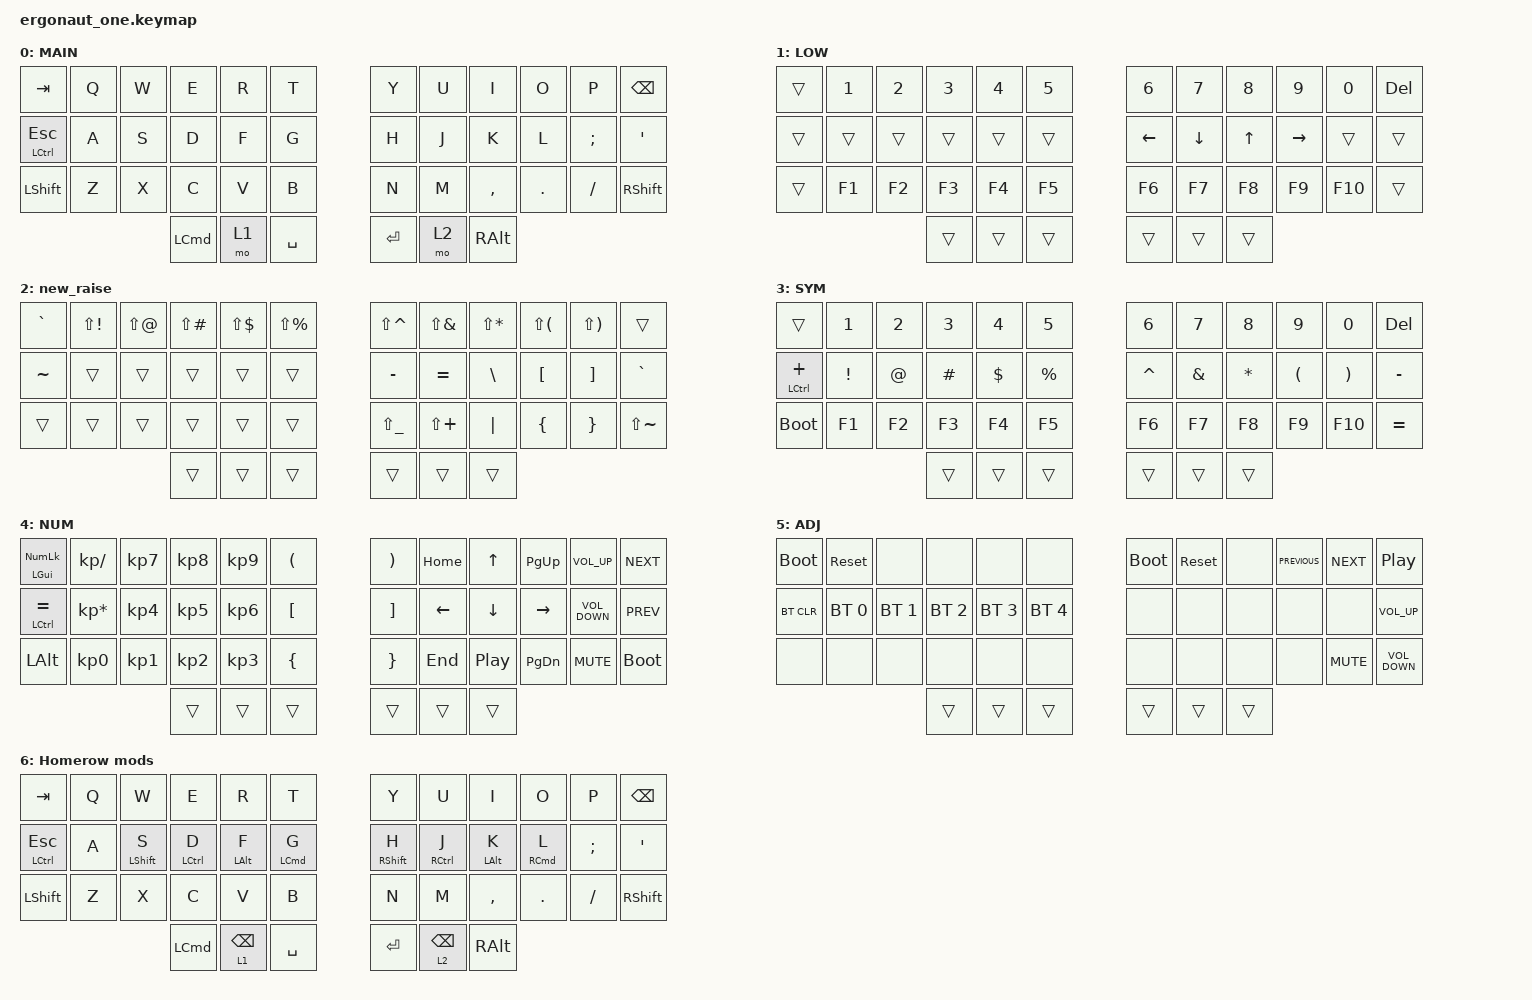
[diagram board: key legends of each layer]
#include <behaviors.dtsi>
#include <dt-bindings/zmk/bt.h>
#include <dt-bindings/zmk/keys.h>

#define DEF 0
#define LWR 1
#define RSE 2
#define ADJ 3

&lt {
    quick-tap-ms = <200>;
    tapping-term-ms = <300>;
};

&mt {
    quick-tap-ms = <200>;
    tapping-term-ms = <300>;
};

/ {
    conditional_layers {
        compatible = "zmk,conditional-layers";

        config {
            if-layers = <1 2>;
            then-layer = <5>;
        };
    };

    combos {
        compatible = "zmk,combos";

        configl {
            bindings = <&to 5>;
            key-positions = <3 38 24>;
        };

        configr {
            bindings = <&to 5>;
            key-positions = <8 35 39>;
        };

        esc {
            bindings = <&kp ESCAPE>;
            key-positions = <0 1>;
        };
    };

    keymap {
        compatible = "zmk,keymap";

        default_layer {
            display-name = "MAIN";
            bindings = <
&kp TAB           &kp Q  &kp W  &kp E             &kp R  &kp T      &kp Y      &kp U  &kp I          &kp O    &kp P     &kp BACKSPACE
&mt LCTRL ESCAPE  &kp A  &kp S  &kp D             &kp F  &kp G      &kp H      &kp J  &kp K          &kp L    &kp SEMI  &kp SQT
&kp LEFT_SHIFT    &kp Z  &kp X  &kp C             &kp V  &kp B      &kp N      &kp M  &kp COMMA      &kp DOT  &kp FSLH  &kp RIGHT_SHIFT
                                &kp LEFT_COMMAND  &mo 1  &kp SPACE  &kp ENTER  &mo 2  &kp RIGHT_ALT
            >;
        };

        new_lower {
            display-name = "LOW";
            bindings = <
&trans  &kp N1  &kp N2  &kp N3  &kp N4  &kp N5  &kp N6    &kp N7    &kp N8  &kp N9     &kp N0   &kp DELETE
&trans  &trans  &trans  &trans  &trans  &trans  &kp LEFT  &kp DOWN  &kp UP  &kp RIGHT  &trans   &trans
&trans  &kp F1  &kp F2  &kp F3  &kp F4  &kp F5  &kp F6    &kp F7    &kp F8  &kp F9     &kp F10  &trans
                        &trans  &trans  &trans  &trans    &trans    &trans
            >;
        };

        new_raise {
            bindings = <
&kp GRAVE  &kp LS(EXCL)  &kp LS(AT)  &kp LS(POUND)  &kp LS(DLLR)  &kp LS(PRCNT)  &kp LS(CARET)  &kp LS(AMPS)  &kp LS(STAR)  &kp LS(LPAR)  &kp LS(RPAR)  &trans
&kp TILDE  &trans        &trans      &trans         &trans        &trans         &kp MINUS      &kp EQUAL     &kp BSLH      &kp LBKT      &kp RBKT      &kp GRAVE
&trans     &trans        &trans      &trans         &trans        &trans         &kp LS(UNDER)  &kp LS(PLUS)  &kp PIPE      &kp LBRC      &kp RBRC      &kp LS(TILDE)
                                     &trans         &trans        &trans         &trans         &trans        &trans
            >;
        };

        lower_layer {
            display-name = "SYM";
            bindings = <
&trans          &kp N1    &kp N2  &kp N3    &kp N4    &kp N5     &kp N6     &kp N7    &kp N8    &kp N9    &kp N0    &kp DELETE
&mt LCTRL PLUS  &kp EXCL  &kp AT  &kp HASH  &kp DLLR  &kp PRCNT  &kp CARET  &kp AMPS  &kp STAR  &kp LPAR  &kp RPAR  &kp MINUS
&bootloader     &kp F1    &kp F2  &kp F3    &kp F4    &kp F5     &kp F6     &kp F7    &kp F8    &kp F9    &kp F10   &kp EQUAL
                                  &trans    &trans    &trans     &trans     &trans    &trans
            >;
        };

        raise_layer {
            display-name = "NUM";
            bindings = <
&mt LGUI KP_NUM  &kp KP_SLASH     &kp KP_N7  &kp KP_N8  &kp KP_N9  &kp LEFT_PARENTHESIS  &kp RIGHT_PARENTHESIS  &kp HOME  &kp UP_ARROW      &kp PG_UP  &kp C_VOLUME_UP    &kp C_NEXT
&mt LCTRL EQUAL  &kp KP_MULTIPLY  &kp KP_N4  &kp KP_N5  &kp KP_N6  &kp LEFT_BRACKET      &kp RIGHT_BRACKET      &kp LEFT  &kp DOWN          &kp RIGHT  &kp C_VOLUME_DOWN  &kp C_PREV
&kp LALT         &kp KP_N0        &kp KP_N1  &kp KP_N2  &kp KP_N3  &kp LEFT_BRACE        &kp RIGHT_BRACE        &kp END   &kp C_PLAY_PAUSE  &kp PG_DN  &kp C_MUTE         &bootloader
                                             &trans     &trans     &trans                &trans                 &trans    &trans
            >;
        };

        adjust_layer {
            display-name = "ADJ";
            bindings = <
&bootloader  &sys_reset    &none         &none         &none         &none         &bootloader  &sys_reset  &none   &kp C_PREVIOUS  &kp C_NEXT  &kp C_PLAY_PAUSE
&bt BT_CLR   &bt BT_SEL 0  &bt BT_SEL 1  &bt BT_SEL 2  &bt BT_SEL 3  &bt BT_SEL 4  &none        &none       &none   &none           &none       &kp C_VOLUME_UP
&none        &none         &none         &none         &none         &none         &none        &none       &none   &none           &kp C_MUTE  &kp C_VOLUME_DOWN
                                         &trans        &trans        &trans        &trans       &trans      &trans
            >;
        };

        homerow_mods {
            display-name = "Homerow mods";
            bindings = <
&kp TAB           &kp Q  &kp W             &kp E               &kp R            &kp T               &kp Y              &kp U                &kp I           &kp O                &kp P     &kp BACKSPACE
&mt LCTRL ESCAPE  &kp A  &mt LEFT_SHIFT S  &mt LEFT_CONTROL D  &mt LEFT_ALT F   &mt LEFT_COMMAND G  &mt RIGHT_SHIFT H  &mt RIGHT_CONTROL J  &mt LEFT_ALT K  &mt RIGHT_COMMAND L  &kp SEMI  &kp SQT
&kp LEFT_SHIFT    &kp Z  &kp X             &kp C               &kp V            &kp B               &kp N              &kp M                &kp COMMA       &kp DOT              &kp FSLH  &kp RIGHT_SHIFT
                                           &kp LEFT_COMMAND    &lt 1 BACKSPACE  &kp SPACE           &kp ENTER          &lt 2 BACKSPACE      &kp RIGHT_ALT
            >;
        };
    };
};
